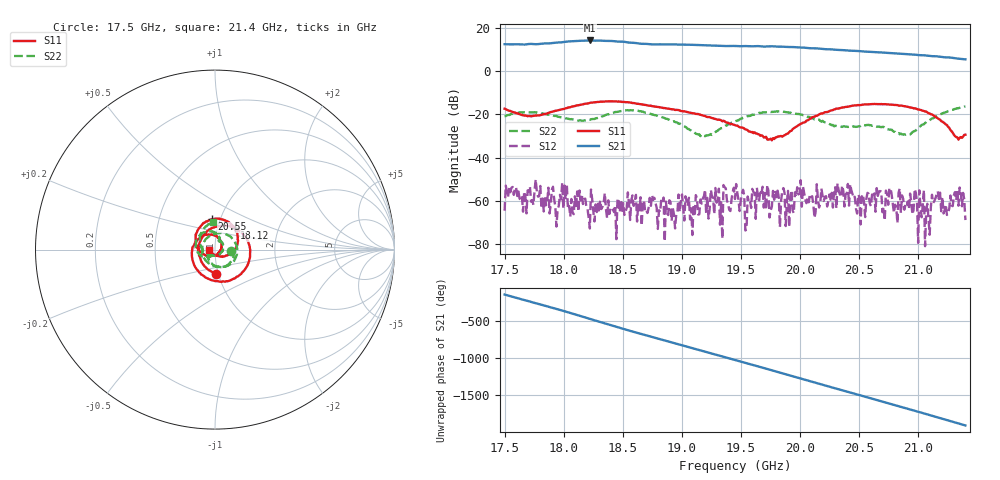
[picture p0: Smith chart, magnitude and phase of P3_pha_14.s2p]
!Created with skrf (http://scikit-rf.org).
# GHz S RI R 50.0
!freq ReS11 ImS11 ReS21 ImS21 ReS12 ImS12 ReS22 ImS22
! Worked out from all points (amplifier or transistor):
!   401 points, 17.5 GHz to 21.4 GHz, reference 50 ohm
!   highest |S21| = 14.2 dB at 18.22 GHz (marker M1)
!   |S21| within 3 dB of that: start of sweep to 19.89 GHz
!   unconditionally stable (mu >= 1): start of sweep to end of sweep
!   at 18.14 GHz: K = 93.65, MAG = 14.2 dB, |S12| = -59.8 dB
!   at 19.45 GHz: K = 118.09, MAG = 11.7 dB, |S12| = -59.2 dB
!   at 21.4 GHz: K = 723.30, MAG = 5.6 dB, |S12| = -68.9 dB
!   S11 on the Smith chart (normalised r, x): 17.5 GHz: 0.97, -0.27; 18.12 GHz: 1.21, +0.30; 20.55 GHz: 0.91, +0.32; 21.4 GHz: 0.93, -0.01
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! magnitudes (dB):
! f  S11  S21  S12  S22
! 17.5 GHz  -17.4  12.4  -64.6  -20.9
! 18.12 GHz  -15.8  14.0  -64.9  -22.9
! 18.15 GHz  -15.4  14.1  -56.9  -22.9
! 18.22 GHz  -14.7  14.2  -72.8  -22.5
! 18.81 GHz  -16.6  12.4  -64.3  -20.9
! 18.99 GHz  -18.4  12.3  -60.3  -24.6
! 19.09 GHz  -19.4  12.2  -75.8  -28.0
! 19.18 GHz  -20.6  12.0  -59.0  -29.8
! 19.32 GHz  -22.5  11.7  -71.0  -26.7
! 19.45 GHz  -25.0  11.6  -59.2  -23.2
! 19.56 GHz  -27.4  11.5  -58.0  -20.8
! 19.66 GHz  -29.9  11.5  -54.9  -19.4
! 20.1 GHz  -21.4  10.6  -57.9  -21.8
! 20.55 GHz  -15.4  9.0  -67.5  -25.1
! 20.76 GHz  -15.5  8.4  -54.1  -27.1
! 20.81 GHz  -15.7  8.2  -61.8  -28.1
! 21.03 GHz  -18.1  7.4  -67.6  -24.9
! 21.08 GHz  -19.1  7.2  -61.3  -23.2
! 21.17 GHz  -21.8  6.8  -55.6  -20.5
! 21.23 GHz  -24.7  6.3  -61.7  -19.0
! 21.37 GHz  -30.9  5.6  -62.5  -16.7
! 21.4 GHz  -29.4  5.4  -68.9  -16.4
